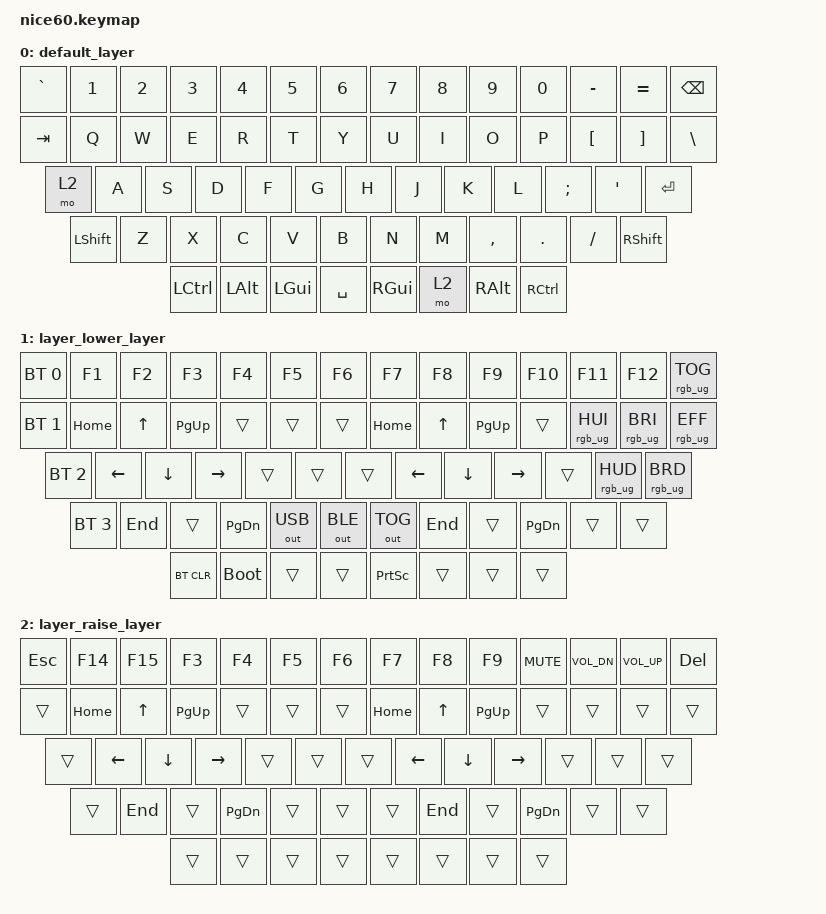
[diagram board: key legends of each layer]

/*
 * Copyright (c) 2020 The ZMK Contributors
 *
 * SPDX-License-Identifier: MIT
 */


/* THIS FILE WAS GENERATED!
 *
 * This file was generated automatically. You may or may not want to
 * edit it directly.
 */

#include <behaviors.dtsi>
#include <dt-bindings/zmk/keys.h>
#include <dt-bindings/zmk/bt.h>
#include <dt-bindings/zmk/outputs.h>
#include <dt-bindings/zmk/rgb.h>

/ {
    combos {
        compatible = "zmk,combos";
        combo_navi {
            timeout-ms = <50>;
            key-positions = <28 58>;
            bindings = <&tog 2>;
        };
        combo_capslock {
            timeout-ms = <50>;
            key-positions = <14 28>;
            bindings = <&kp CAPSLOCK>;
        };
        combo_lower {
            timeout-ms = <50>;
            key-positions = <57 58>;
            bindings = <&mo 1>;
        };
    };
};

/ {
    keymap {
        compatible = "zmk,keymap";


        default_layer {
            bindings = <
 &kp GRAVE     &kp N1    &kp N2    &kp N3     &kp N4    &kp N5            &kp N6  &kp N7     &kp N8   &kp N9    &kp N0  &kp MINUS  &kp EQUAL  &kp BSPC
   &kp TAB      &kp Q     &kp W     &kp E      &kp R     &kp T             &kp Y   &kp U      &kp I    &kp O     &kp P   &kp LBKT   &kp RBKT  &kp BSLH
 &mo 2      &kp A     &kp S     &kp D      &kp F     &kp G             &kp H   &kp J      &kp K    &kp L  &kp SEMI    &kp SQT    &kp RET
 &kp LSHFT      &kp Z     &kp X     &kp C      &kp V     &kp B             &kp N   &kp M  &kp COMMA  &kp DOT  &kp FSLH  &kp RSHFT
            &kp LCTRL  &kp LALT  &kp LGUI  &kp SPACE     &kp RGUI          &mo 2   &kp RALT  &kp RCTRL
            >;
        };

        layer_lower_layer {
            bindings = <
 &bt BT_SEL 0      &kp F1    &kp F2     &kp F3  &kp F4     &kp F5            &kp F6    &kp F7    &kp F8     &kp F9  &kp F10  &kp F11  &kp F12  &rgb_ug RGB_TOG
 &bt BT_SEL 1    &kp HOME    &kp UP  &kp PG_UP  &trans     &trans            &trans  &kp HOME    &kp UP  &kp PG_UP   &trans   &rgb_ug RGB_HUI   &rgb_ug RGB_BRI  &rgb_ug RGB_EFF
 &bt BT_SEL 2    &kp LEFT  &kp DOWN  &kp RIGHT  &trans     &trans            &trans  &kp LEFT  &kp DOWN  &kp RIGHT   &trans   &rgb_ug RGB_HUD   &rgb_ug RGB_BRD
 &bt BT_SEL 3     &kp END    &trans  &kp PG_DN  &out OUT_USB   &out OUT_BLE     &out OUT_TOG   &kp END    &trans  &kp PG_DN   &trans   &trans
               &bt BT_CLR    &bootloader     &trans  &trans  &kp PSCRN            &trans    &trans   &trans
            >;
        };

        layer_raise_layer {
            bindings = <
 &kp ESC  &kp F14       &kp F15     &kp F3  &kp F4    &kp F5            &kp F6    &kp F7    &kp F8     &kp F9  &kp C_MUTE  &kp C_VOL_DN  &kp C_VOL_UP  &kp DEL
 &trans  &kp HOME     &kp UP  &kp PG_UP  &trans    &trans          &trans  &kp HOME    &kp UP  &kp PG_UP      &trans        &trans        &trans  &trans
 &trans  &kp LEFT     &kp DOWN  &kp RIGHT  &trans  &trans          &trans  &kp LEFT  &kp DOWN  &kp RIGHT      &trans        &trans        &trans
 &trans               &kp END         &trans  &kp PG_DN  &trans  &trans            &trans   &kp END    &trans  &kp PG_DN      &trans        &trans
                       &trans         &trans     &trans  &trans  &trans            &trans    &trans   &trans
            >;
        };

    };
};
